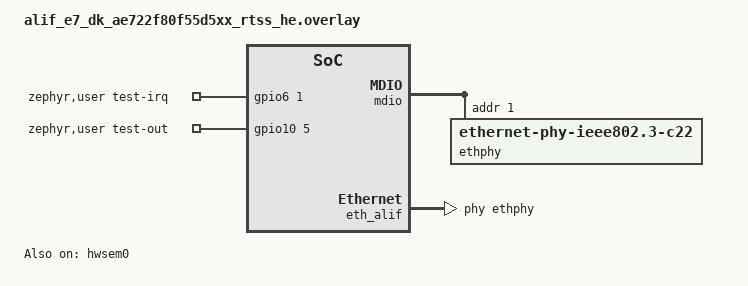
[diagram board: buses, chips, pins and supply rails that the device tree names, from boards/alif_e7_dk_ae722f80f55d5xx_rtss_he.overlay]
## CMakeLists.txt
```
cmake_minimum_required(VERSION 3.13.1)

set(EXTRA_CONF_FILE ../../base.conf)

# adds out-of-tree custom drivers as a Zephyr extra module (this line should be above the find_package line)
set(PROJECT_DIR ${CMAKE_CURRENT_SOURCE_DIR}/../..)
list(APPEND ZEPHYR_EXTRA_MODULES ${PROJECT_DIR}/drivers)

find_package(Zephyr REQUIRED HINTS $ENV{ZEPHYR_BASE})

project(he_app)

zephyr_include_directories(${CMAKE_CURRENT_SOURCE_DIR})

target_sources(app PRIVATE main.cpp )
```

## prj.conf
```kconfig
#### Serial config ####
CONFIG_SERIAL=y
CONFIG_GPIO=y
CONFIG_UART_CONSOLE=y
CONFIG_UART_INTERRUPT_DRIVEN=y

CONFIG_SHELL=y
CONFIG_I3C=y
CONFIG_I3C_SHELL=y
```

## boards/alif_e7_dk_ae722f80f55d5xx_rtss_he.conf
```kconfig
#### File System Section ####
CONFIG_FLASH=y
CONFIG_FLASH_MAP=y
CONFIG_FILE_SYSTEM=y
CONFIG_FILE_SYSTEM_LITTLEFS=y
# OSPI
CONFIG_OSPI_FLASH_IS25WX=y
# CONFIG_OSPI=y
CONFIG_USE_ALIF_HAL_OSPI=y
CONFIG_CRC=y


# SUPPORT FOR DUAL CORE OSPI
CONFIG_ARM_MPU=y
CONFIG_CPU_HAS_CUSTOM_FIXED_SOC_MPU_REGIONS=y
CONFIG_EVENTS=y
CONFIG_MAIN_STACK_SIZE=8192
CONFIG_ALIF_HWSEM=y
CONFIG_LOG_BUFFER_SIZE=32768
```

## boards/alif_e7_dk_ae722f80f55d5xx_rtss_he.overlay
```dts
&pinctrl {
	pinctrl_eth0: pinctrl_eth0 {
		#pinctrl-state-cells = <0>;
		#pinctrl-cells = <1>;
		group0 {
			pinmux = <
			PIN_P6_0__ETH_TXD0_A
			PIN_P10_5__ETH_TXD1_B
			PIN_P10_6__ETH_TXEN_B
			PIN_P11_0__ETH_REFCLK_B
			PIN_P11_1__ETH_MDIO_B
			PIN_P11_2__ETH_MDC_B
			PIN_P11_3__ETH_RXD0_B
			PIN_P11_4__ETH_RXD1_B
			PIN_P11_5__ETH_CRS_DV_B
			PIN_P11_6__ETH_RST_B
			PIN_P11_7__ETH_IRQ_B
			>;
		};
	};
};

/ {
	aliases {
		ethernet0 = &eth_alif;
	};
	
	zephyr,user {
		/* Test IRQ on P6.1 (rising edge) */
		test-irq-gpios = <&gpio6 1 GPIO_ACTIVE_HIGH>;
		/* Toggle output on P10.5, wire to P6.1 to trigger IRQ */
		test-out-gpios = <&gpio10 5 GPIO_ACTIVE_HIGH>;
	};

	mdio {
		#address-cells = <1>;
		#size-cells = <0>;
		
		ethphy: ethernet-phy@1 {
			reg = <1>;
			compatible = "ethernet-phy-ieee802.3-c22";
			micrel,led-mode = <1>;
		};
	};

    eth_alif: ethernet@48100000 {
		compatible = "zephyr,eth-alif";
		reg = <0x48100000 0x10000>;  /* Base address + size */
		interrupt-parent = <&nvic>;
		interrupts = <148 0>;  /* ETH_SBD_IRQ */
		status = "okay";
		label = "eth_alif";
		mac-address = [00 16 3E 11 22 33];
		pinctrl-0 = <&pinctrl_eth0>;
		pinctrl-names = "default";
		phy-handle = <&ethphy>;
	};

    dma_sram: sram@08000000{
		compatible = "zephyr,memory-region", "mmio-sram";
		reg = <0x08000000 0x00010000>;
		zephyr,memory-region = "ETH_DMA";
	};
};

&hwsem0 {
	status = "okay";
};

&gpio10 {
	status = "okay";
};

/* HE uses pin 1 but does not acknowledge it (HP does EOI) */
```

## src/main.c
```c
/*
 * Copyright (c) 2024 Alif Semiconductor
 * SPDX-License-Identifier: Apache-2.0
 */

#include <stdio.h>
#include <string.h>
#include <zephyr/device.h>
#include <zephyr/devicetree.h>
#include <zephyr/drivers/flash.h>
#include <zephyr/kernel.h>
#include <zephyr/drivers/hwsem_ipm.h>

#define SPI_FLASH_TEST_REGION_OFFSET 0x0
#define SPI_FLASH_SECTOR_SIZE 4096
#define BUFF_SIZE 1024

const struct flash_parameters *flash_param;

// hwsem
#define DEVICE_DT_GET_AND_COMMA(node_id) DEVICE_DT_GET(node_id),

/* Generate a list of devices for all instances of the "compat" */
#define DEVS_FOR_DT_COMPAT(compat) DT_FOREACH_STATUS_OKAY(compat, DEVICE_DT_GET_AND_COMMA)

static const struct device *const devices[] = {
#ifdef CONFIG_ALIF_HWSEM
	DEVS_FOR_DT_COMPAT(alif_hwsem)
#endif
};

#if defined(CONFIG_SOC_AE722F80F55D5XX_RTSS_HP)
#define MASTER_ID 0xF00DF00D
#elif defined(CONFIG_SOC_AE722F80F55D5XX_RTSS_HE)
#define MASTER_ID 0xC0DEC0DE
#endif

#define OSPI1_IRQ 97

static void OSPI1_RESERVE() {
	/* Use only the single HWSEM device instance for this test */
	const struct device *device = devices[0];

	/* First trylock: can return 0 (success) or -EBUSY (busy, locked by another core) */
	while (hwsem_trylock(device, MASTER_ID) != 0)
	{
		printf("Waiting for HWSEM.");
		k_msleep(1000);
	} /* spinwait for our turn */

	// After init the IRQ is disabled
	NVIC_EnableIRQ(OSPI1_IRQ);
}

static void OSPI1_RELEASE() {
	/* Use only the single HWSEM device instance for this test */
	const struct device *device = devices[0];

	// After init the IRQ is disabled
	NVIC_DisableIRQ(OSPI1_IRQ);
	hwsem_unlock(device, MASTER_ID);
}

void single_sector_test(const struct device *flash_dev)
{
	const uint8_t expected[] = {0x55, 0xaa, 0x66, 0x99};
	const size_t len = ARRAY_SIZE(expected);
	uint8_t buf[len];
	int rc;
	int i, e_count = 0;

	printf("\nTest 1: Flash erase\n");

	/* Full flash erase if SPI_FLASH_TEST_REGION_OFFSET = 0 and
	 * SPI_FLASH_SECTOR_SIZE = flash size
	 */
	rc = flash_erase(flash_dev, SPI_FLASH_TEST_REGION_OFFSET, SPI_FLASH_SECTOR_SIZE);
	if (rc != 0)
	{
		printf("Flash erase failed! %d\n", rc);
	}
	else
	{
		printf("Flash erase succeeded!\n");
	}

	printf("\nTest 1: Flash write\n");

	printf("Attempting to write %zu bytes\n", len);
	rc = flash_write(flash_dev, SPI_FLASH_TEST_REGION_OFFSET, expected, len);
	if (rc != 0)
	{
		printf("Flash write failed! %d\n", rc);
		return;
	}

	printf("\nTest 1: Flash read\n");

	memset(buf, 0, len);
	rc = flash_read(flash_dev, SPI_FLASH_TEST_REGION_OFFSET, buf, len);
	if (rc != 0)
	{
		printf("Flash read failed! %d\n", rc);
		return;
	}

	for (i = 0; i < len; i++)
	{
		if (buf[i] != expected[i])
		{
			e_count++;
			printf("Not matched at [%d] _w[%4x] _r[%4x]\n", i, expected[i], buf[i]);
		}
	}

	if (e_count)
	{
		printf("Error:Data read NOT matches data written\n");
	}
	else
	{
		printf("Data read matches data written. Good!!\n");
	}
}

void erase_test(const struct device *dev, uint32_t len)
{
	int ret = 0, i = 0, count = 0;
	uint8_t r_buf[BUFF_SIZE] = {0};

	printf("\nTest 2: Flash Full Erase\n");

	ret = flash_erase(dev, SPI_FLASH_TEST_REGION_OFFSET, len);
	if (ret == 0)
	{
		printf("Successfully Erased whole Flash Memory\n");
	}
	else
	{
		printf("Error: Bulk Erase Failed [%d]\n", ret);
	}

	/* Read data Cleared Buffer */
	ret = flash_read(dev, SPI_FLASH_TEST_REGION_OFFSET, r_buf, BUFF_SIZE);
	if (ret != 0)
	{
		printf("Error: [RetVal :%d] Reading Erased value\n", ret);
		return;
	}

	/* Verify the read data */
	for (i = 0; i < BUFF_SIZE; i++)
	{
		if (r_buf[i] != flash_param->erase_value)
		{
			count++;
		}
	}

	printf("Total errors after reading erased chip = %d\n", count);
}

void multi_page_test(const struct device *flash_dev)
{
	int rc, i, e_count = 0;

	uint8_t w_buf[BUFF_SIZE] = {0};
	uint8_t r_buf[BUFF_SIZE] = {0};

	const size_t len = ARRAY_SIZE(w_buf);

	printf("\nTest 3: Flash erase\n");

	/* Full flash erase if SPI_FLASH_TEST_REGION_OFFSET = 0 and
	 * SPI_FLASH_SECTOR_SIZE = flash size
	 */
	rc = flash_erase(flash_dev, SPI_FLASH_TEST_REGION_OFFSET, SPI_FLASH_SECTOR_SIZE);
	if (rc != 0)
	{
		printf("Flash erase failed! %d\n", rc);
	}
	else
	{
		printf("Flash erase succeeded!\n");
	}

	for (i = 0; i < BUFF_SIZE; i++)
	{
		w_buf[i] = i % 256;
	}

	printf("\nTest 3: Flash write\n");

	printf("Attempting to write %zu bytes\n", len);
	rc = flash_write(flash_dev, SPI_FLASH_TEST_REGION_OFFSET, w_buf, len);
	if (rc != 0)
	{
		printf("Flash write failed! %d\n", rc);
		return;
	}

	printf("\nTest 3: Flash read\n");

	memset(r_buf, 0, len);
	rc = flash_read(flash_dev, SPI_FLASH_TEST_REGION_OFFSET, r_buf, len);
	if (rc != 0)
	{
		printf("Flash read failed! %d\n", rc);
		return;
	}

	for (i = 0; i < BUFF_SIZE; i++)
	{
		if (r_buf[i] != w_buf[i])
		{
			e_count++;
			printf("Not matched at [%d] _w[%4x] _r[%4x]\n", i, w_buf[i], r_buf[i]);
		}
	}

	if (e_count)
	{
		printf("Error:Data read NOT matches data written\n");
		printf(" -- number of Unmatched data [%d]\n", e_count);
	}
	else
	{
		printf("Data read matches data written. Good!!\n");
	}
}

#define SPI_FLASH_SECTOR_4_OFFSET (4 * 1024 * 4)
#define SPI_FLASH_SECTOR_5_OFFSET (5 * 1024 * 4)

void multi_sector_test(const struct device *flash_dev)
{
	int rc, i, e_count = 0;

	uint8_t w_buf[BUFF_SIZE] = {0};
	uint8_t r_buf[BUFF_SIZE] = {0};

	const size_t len = ARRAY_SIZE(w_buf);

	for (i = 0; i < BUFF_SIZE; i++)
	{
		w_buf[i] = i % 256;
	}

	printf("\nTest 4: write sector %d\n", SPI_FLASH_SECTOR_4_OFFSET);
	/* Write into Sector 4 */
	rc = flash_write(flash_dev, SPI_FLASH_SECTOR_4_OFFSET, w_buf, len);
	if (rc != 0)
	{
		printf("\nFlash write failed at Sec 4! %d\n", rc);
		return;
	}

	printf("\nTest 4: write sector %d\n", SPI_FLASH_SECTOR_5_OFFSET);
	/* Write into Sector 5 */
	rc = flash_write(flash_dev, SPI_FLASH_SECTOR_5_OFFSET, w_buf, len);
	if (rc != 0)
	{
		printf("\nFlash write failed at Sec 5! %d\n", rc);
		return;
	}

	/* Read from Sector 4 */
	printf("Sec4: Read and Verify written data\n");

	e_count = 0;
	memset(r_buf, 0, len);

	printf("\nTest 4: read sector %d\n", SPI_FLASH_SECTOR_4_OFFSET);

	rc = flash_read(flash_dev, SPI_FLASH_SECTOR_4_OFFSET, r_buf, len);
	if (rc != 0)
	{
		printf("Flash read failed at Sector 4! %d\n", rc);
		return;
	}

	for (i = 0; i < BUFF_SIZE; i++)
	{
		if (r_buf[i] != w_buf[i])
		{
			e_count++;
			printf("Not matched at [%d] _w[%4x] _r[%4x]\n", i, w_buf[i], r_buf[i]);
		}
	}

	if (e_count)
	{
		printf("\nError:Data read NOT matches data written\n");
		printf(" -- number of Unmatched data [%d]\n", e_count);
	}
	else
	{
		printf("\nData read matches data written. Good!!\n");
	}

	/* Read from Sector 5 */
	printf("Sec5: Read and Verify written data\n");

	e_count = 0;
	memset(r_buf, 0, len);

	printf("\nTest 4: read sector %d\n", SPI_FLASH_SECTOR_5_OFFSET);

	rc = flash_read(flash_dev, SPI_FLASH_SECTOR_5_OFFSET, r_buf, len);
	if (rc != 0)
	{
		printf("Flash read failed at Sector 5! %d\n", rc);
		return;
	}

	for (i = 0; i < BUFF_SIZE; i++)
	{
		if (r_buf[i] != w_buf[i])
		{
			e_count++;
			printf("Not matched at [%d] _w[%4x] _r[%4x]\n", i, w_buf[i], r_buf[i]);
		}
	}

	if (e_count)
	{
		printf("Error:Data read NOT matches data written\n");
		printf(" -- number of Unmatched data [%d]\n", e_count);
	}
	else
	{
		printf("Data read matches data written. Good!!\n");
	}

	/* Erase multiple Sector Sec 4+5 */
	printf("\nTest 4: Erase Sector 4 and 5\n");
	printf("Flash Erase from Sector %d Size to Erase %d\n", SPI_FLASH_SECTOR_4_OFFSET,
		   SPI_FLASH_SECTOR_SIZE * 2);

	rc = flash_erase(flash_dev, SPI_FLASH_SECTOR_4_OFFSET, SPI_FLASH_SECTOR_SIZE * 2);
	if (rc != 0)
	{
		printf("\nMulti-Sector erase failed! %d\n", rc);
	}
	else
	{
		printf("\nMulti-Sector erase succeeded!\n");
	}

	int count_1 = 0;

	memset(r_buf, 0, len);

	printf("\nTest 4: read sector %d\n", SPI_FLASH_SECTOR_4_OFFSET);
	/* Read Erased value and compare */
	rc = flash_read(flash_dev, SPI_FLASH_SECTOR_4_OFFSET, r_buf, BUFF_SIZE);
	if (rc != 0)
	{
		printf("Error: [RetVal :%d] Reading Erased value\n", rc);
		return;
	}

	/* Verify the read data */
	for (i = 0; i < BUFF_SIZE; i++)
	{
		if (r_buf[i] != flash_param->erase_value)
		{
			count_1++;
		}
	}

	printf("Total errors after reading erased Sector 4 = %d\n", count_1);

	int count_2 = 0;

	memset(r_buf, 0, len);
	printf("\nTest 4: read sector %d\n", SPI_FLASH_SECTOR_5_OFFSET);

	/* Read Erased value and compare */
	rc = flash_read(flash_dev, SPI_FLASH_SECTOR_5_OFFSET, r_buf, BUFF_SIZE);
	if (rc != 0)
	{
		printf("Error: [RetVal :%d] Reading Erased value\n", rc);
		return;
	}

	/* Verify the read data */
	for (i = 0; i < BUFF_SIZE; i++)
	{
		if (r_buf[i] != flash_param->erase_value)
		{
			count_2++;
		}
	}

	printf("Total errors after reading erased Sector 5 = %d\n", count_2);

	if (count_1 == 0 && count_2 == 0)
	{
		printf("\nMulti-Sector Erase Test Succeeded !\n");
	}
	else
	{
		printf("\nMulti-Sector Erase Failed\n");
	}
}

void xip_test(const struct device *flash_dev)
{
	uint8_t i;
	uint32_t xip_r[64] = {0}, fls_r[64] = {0}, cnt;
	uint32_t *ptr = (uint32_t *)DT_PROP_BY_IDX(DT_PARENT(DT_ALIAS(spi_flash0)),
											   xip_base_address, 0);
	int32_t rc, e_count = 0;

	printf("\nTest 5: XiP Read\n");

	memcpy(xip_r, ptr, sizeof(xip_r));

	printf("Content Read from OSPI Flash in XiP Mode successfully\n\n");

	cnt = ARRAY_SIZE(xip_r);

	printf("Read from Flash cmd while XiP Mode turnned on\n\n");

	rc = flash_read(flash_dev, SPI_FLASH_TEST_REGION_OFFSET,
					fls_r, cnt * sizeof(uint32_t));
	if (rc != 0)
	{
		printf("Flash read failed! %d\n", rc);
		return;
	}

	for (i = 0; i < cnt; i++)
		if (fls_r[i] != xip_r[i])
		{
			e_count++;
		}

	if (!e_count)
	{
		printf("XiP Read Test Succceeded !!\n\n");
	}
	else
	{
		printf("XiP Test Failed !"
			   " contents are NOT Matching : Err Count [%d]!!!\n",
			   e_count);
	}
}

int main(void)
{
#if defined(CONFIG_SOC_AE722F80F55D5XX_RTSS_HP)
	printf("Hello from HP\n");
	//OSPI1_RESERVE();
#elif defined(CONFIG_SOC_AE722F80F55D5XX_RTSS_HE)
	printf("Hello from HE\n");
#endif	

	while (1)
	{
		OSPI1_RESERVE();

		const struct device *flash_dev = DEVICE_DT_GET(DT_ALIAS(spi_flash0));

		if (!device_is_ready(flash_dev))
		{
			printk("%s: device not ready.\n", flash_dev->name);
			return -1;
		}

		printf("\n%s OSPI flash testing\n", flash_dev->name);
		printf("========================================\n");

		flash_param = flash_get_parameters(flash_dev);

		printf("****Flash Configured Parameters******\n");
		printf("* Num Of Sectors : %d\n", flash_param->num_of_sector);
		printf("* Sector Size : %d\n", flash_param->sector_size);
		printf("* Page Size : %d\n", flash_param->page_size);
		printf("* Erase value : %d\n", flash_param->erase_value);
		printf("* Write Blk Size: %d\n", flash_param->write_block_size);
		printf("* Total Size in MB: %d\n",
			   (flash_param->num_of_sector * flash_param->sector_size) / (1024 * 1024));

		/*Current RW support only on 16 DFS */
		single_sector_test(flash_dev);

		/* Erase Full and verify the content */
		// erase_test(flash_dev, flash_param->num_of_sector * flash_param->sector_size);

		// /* Multipage test */
		// multi_page_test(flash_dev);

		// /* Multi-Secot R/W and Erase test*/
		// multi_sector_test(flash_dev);

		// #ifdef CONFIG_ALIF_OSPI_FLASH_XIP
		// 	xip_test(flash_dev);
		// #endif

		OSPI1_RELEASE();
		printf("Sleep for 5 seconds.\n");
		k_msleep(5000);
	}

	return 0;
}
```
